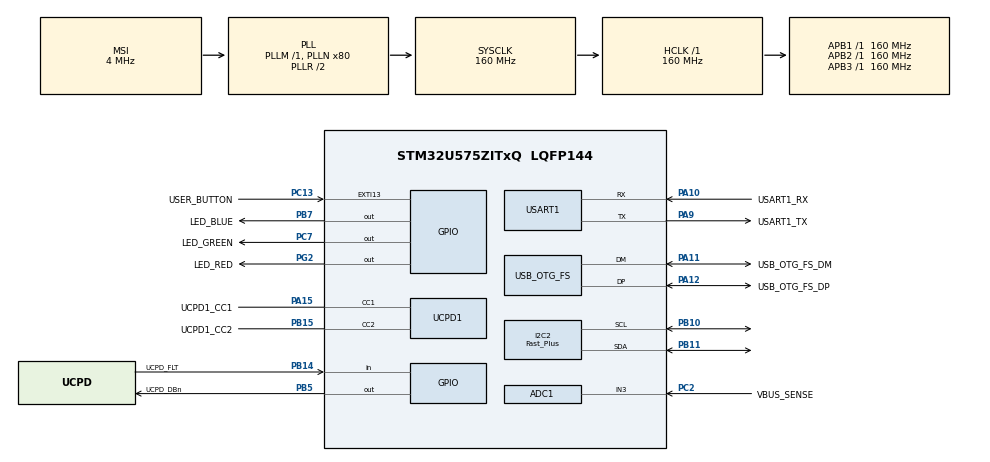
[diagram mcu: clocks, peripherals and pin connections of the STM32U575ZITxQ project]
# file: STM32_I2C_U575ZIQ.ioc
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ADC1.NbrOfConversion=1
ADC1.Resolution=ADC_RESOLUTION_14B
ADC1.master=1
CORTEX_M33_NS.AccessPermission-Cortex_Memory_Protection_Unit_Region0_Settings=MPU_REGION_ALL_RW
CORTEX_M33_NS.AttributesIndex-Cortex_Memory_Protection_Unit_Region0_Settings=MPU_ATTRIBUTES_NUMBER1
CORTEX_M33_NS.BaseAddress-Cortex_Memory_Protection_Unit_Region0_Settings=0x28000000
CORTEX_M33_NS.DisableExec-Cortex_Memory_Protection_Unit_Region0_Settings=MPU_INSTRUCTION_ACCESS_DISABLE
CORTEX_M33_NS.Enable-Cortex_Memory_Protection_Unit_Region0_Settings=MPU_REGION_ENABLE
CORTEX_M33_NS.LimitAddress-Cortex_Memory_Protection_Unit_Region0_Settings=0x28003fff
CORTEX_M33_NS.MPU_Control=MPU_PRIVILEGED_DEFAULT
CORTEX_M33_NS.userName=CORTEX_M33
GPDMA1.CIRCULARMODE_GPDMACH1=DISABLE
GPDMA1.DESTINC_GPDMACH1=DMA_DINC_INCREMENTED
GPDMA1.DIRECTION_GPDMACH1=DMA_PERIPH_TO_MEMORY
GPDMA1.IPHANDLE_GPDMACH1-SIMPLEREQUEST_GPDMACH1=__NULL
GPDMA1.REQUEST_GPDMACH1=GPDMA1_REQUEST_I2C2_RX
GPDMA1.SRCINC_GPDMACH1=DMA_SINC_FIXED
I2C2.I2C_Speed_Mode=I2C_Fast_Plus
I2C2.OwnAddress=0x7f
I2C2.Timing=0x00701F6B
Mcu.Family=STM32U5
Mcu.Name=STM32U575ZITxQ
Mcu.Package=LQFP144
NVIC.GPDMA1_Channel1_IRQn=true\:0\:0\:false\:false\:true\:false\:true\:true
NVIC.I2C2_EV_IRQn=true\:0\:0\:false\:false\:true\:true\:true\:true
NVIC.OTG_FS_IRQn=true\:0\:0\:false\:false\:true\:true\:true\:true
NVIC.PriorityGroup=NVIC_PRIORITYGROUP_3
NVIC.TIM1_UP_IRQn=true\:0\:0\:false\:false\:true\:true\:true\:true
PA10.GPIO_Label=USART1_RX
PA10.GPIO_PuPd=GPIO_PULLDOWN
PA10.GPIO_Speed=GPIO_SPEED_FREQ_VERY_HIGH
PA10.Mode=Asynchronous
PA10.Signal=USART1_RX
PA11.GPIO_Label=USB_OTG_FS_DM
PA11.GPIO_Speed=GPIO_SPEED_FREQ_VERY_HIGH
PA11.Mode=Device_Only
PA11.Signal=USB_OTG_FS_DM
PA12.GPIO_Label=USB_OTG_FS_DP
PA12.GPIO_Speed=GPIO_SPEED_FREQ_VERY_HIGH
PA12.Mode=Device_Only
PA12.Signal=USB_OTG_FS_DP
PA13\ (JTMS/SWDIO).Mode=Trace_Asynchronous_SW
PA13\ (JTMS/SWDIO).Signal=DEBUG_JTMS-SWDIO
PA14\ (JTCK/SWCLK).Mode=Trace_Asynchronous_SW
PA14\ (JTCK/SWCLK).Signal=DEBUG_JTCK-SWCLK
PA15\ (JTDI).GPIO_Label=UCPD1_CC1
PA15\ (JTDI).Mode=Sink_AllSignals
PA15\ (JTDI).Signal=UCPD1_CC1
PA9.GPIO_Label=USART1_TX
PA9.GPIO_PuPd=GPIO_PULLDOWN
PA9.GPIO_Speed=GPIO_SPEED_FREQ_VERY_HIGH
PA9.Mode=Asynchronous
PA9.Signal=USART1_TX
PB10.Mode=I2C
PB10.Signal=I2C2_SCL
PB11.Mode=I2C
PB11.Signal=I2C2_SDA
PB14.GPIO_Label=UCPD_FLT
PB14.Signal=GPIO_Input
PB15.GPIO_Label=UCPD1_CC2
PB15.Mode=Sink_AllSignals
PB15.Signal=UCPD1_CC2
PB3\ (JTDO/TRACESWO).Mode=Trace_Asynchronous_SW
PB3\ (JTDO/TRACESWO).Signal=DEBUG_JTDO-SWO
PB5.GPIO_Label=UCPD_DBn
PB5.Signal=GPIO_Output
PB7.GPIO_Label=LED_BLUE
PB7.GPIO_ModeDefaultOutputPP=GPIO_MODE_OUTPUT_PP
PB7.GPIO_PuPd=GPIO_PULLUP
PB7.GPIO_Speed=GPIO_SPEED_FREQ_HIGH
PB7.Signal=GPIO_Output
PB8.GPIO_Pu=GPIO_PULLUP
PB8.Signal=I2C1_SCL
PB9.GPIO_Pu=GPIO_PULLUP
PB9.Signal=I2C1_SDA
PC13.GPIO_Label=USER_BUTTON
PC13.GPIO_ModeDefaultEXTI=GPIO_MODE_IT_FALLING
PC13.Signal=GPXTI13
PC14-OSC32_IN\ (PC14).Mode=LSE-External-Oscillator
PC14-OSC32_IN\ (PC14).Signal=RCC_OSC32_IN
PC15-OSC32_OUT\ (PC15).Mode=LSE-External-Oscillator
PC15-OSC32_OUT\ (PC15).Signal=RCC_OSC32_OUT
PC2.GPIO_Label=VBUS_SENSE
PC2.Mode=IN3-Single-Ended
PC2.Signal=ADC1_IN3
PC7.GPIO_Label=LED_GREEN
PC7.GPIO_PuPd=GPIO_PULLUP
PC7.GPIO_Speed=GPIO_SPEED_FREQ_HIGH
PC7.Signal=GPIO_Output
PG2.GPIO_Label=LED_RED
PG2.GPIO_ModeDefaultOutputPP=GPIO_MODE_OUTPUT_PP
PG2.GPIO_PuPd=GPIO_PULLUP
PG2.GPIO_Speed=GPIO_SPEED_FREQ_HIGH
PG2.Signal=GPIO_Output
PWR.PowerMode=PWR_SMPS_SUPPLY
ProjectManager.HeapSize=0x200
ProjectManager.StackSize=0x400
ProjectManager.TargetToolchain=STM32CubeIDE
RCC.ADCFreq_Value=16000000
RCC.AHBFreq_Value=160000000
RCC.APB1Freq_Value=160000000
RCC.APB1TimFreq_Value=160000000
RCC.APB2Freq_Value=160000000
RCC.APB2TimFreq_Value=160000000
RCC.APB3Freq_Value=160000000
RCC.CortexFreq_Value=160000000
RCC.DACCLockSelectionVirtual=RCC_DAC1CLKSOURCE_LSI
RCC.EPOD_VALUE=4000000
RCC.HCLKFreq_Value=160000000
RCC.HSE_VALUE=16000000
RCC.HSI48_VALUE=48000000
RCC.HSI_VALUE=16000000
RCC.LSIDIV_VALUE=32000
RCC.MSI_VALUE=4000000
RCC.PLLN=80
RCC.SYSCLKFreq_VALUE=160000000
RCC.SYSCLKSource=RCC_SYSCLKSOURCE_PLLCLK
RCC.USBFreq_Value=48000000
RCC.VCOOutputFreq_Value=320000000
TIM1.PeriodNoDither=1000-1
TIM1.Prescaler=160-1
USART1.VirtualMode-Asynchronous=VM_ASYNC
USB_OTG_FS.VirtualMode=Device_Only
VP_DCACHE1_VS_DCACHE.Mode=DCACHE_Activate
VP_GPDMA1_VS_GPDMACH1.Mode=SIMPLEREQUEST_GPDMACH1
VP_ICACHE_VS_ENABLE_ICACHE_MEMORY.Mode=Memoryregions
VP_ICACHE_VS_ICACHE.Mode=DirectMappedCache
VP_LPBAMQUEUE_VS_QUEUE.Mode=QUEUEMODE
VP_LPBAM_VS_SIG1.Mode=SmartRun
VP_LPBAM_VS_SIG4.Mode=LPDMA1
VP_MEMORYMAP_VS_MEMORYMAP.Mode=CurAppReg
VP_PWR_VS_DBSignals.Mode=DisableDeadBatterySignals
VP_PWR_VS_LPOM.Mode=PowerOptimisation
VP_PWR_VS_SECSignals.Mode=Security/Privilege
VP_PWR_Vdda.Mode=isolationVdda
VP_TIM1_VS_ClockSourceINT.Mode=Internal
board=NUCLEO-U575ZI-Q

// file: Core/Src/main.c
/* USER CODE BEGIN Header */
/**
  ******************************************************************************
  * @file           : main.c
  * @brief          : Main program body
  ******************************************************************************
  * @attention
  *
  * Copyright (c) 2024 STMicroelectronics.
  * All rights reserved.
  *
  * This software is licensed under terms that can be found in the LICENSE file
  * in the root directory of this software component.
  * If no LICENSE file comes with this software, it is provided AS-IS.
  *
  ******************************************************************************
  */
/* USER CODE END Header */
#include "main.h"
#include "adc.h"
#include "dcache.h"
#include "gpdma.h"
#include "i2c.h"
#include "icache.h"
#include "memorymap.h"
#include "tim.h"
#include "ucpd.h"
#include "usart.h"
#include "usb_otg.h"
#include "gpio.h"

/* USER CODE BEGIN Includes */
#include "string.h"
/* USER CODE END Includes */

/* USER CODE BEGIN PD */

#define I2C_DOUBLE_DATA_NUM 		10
#define I2C_FLOAT_DATA_NUM 			20
#define I2C_INT32_DATA_NUM 			10
#define I2C_UINT32_DATA_NUM 		10
#define I2C_INT16_DATA_NUM 			10
#define I2C_UINT16_DATA_NUM 		10
#define I2C_INT8_DATA_NUM 			10
#define I2C_UINT8_DATA_NUM 			10

#define DATA_TOTAL_BYTE 			70		// Should be Larger than NEEDED (default MAX = 125bytes/ms for "Fast Mode Plus" (Use upto 70bytes...)
#define I2C_TOTAL_DATA_NUM			(I2C_DOUBLE_DATA_NUM + I2C_FLOAT_DATA_NUM + I2C_INT32_DATA_NUM + I2C_UINT32_DATA_NUM + I2C_INT16_DATA_NUM + I2C_UINT16_DATA_NUM + I2C_INT8_DATA_NUM + I2C_UINT8_DATA_NUM)

#define SLAVE_ADDR					(0x7f << 1)

typedef enum _IOIF_I2CDatatType_t {
	I2C_DOUBLE = 1,
	I2C_FLOAT,
	I2C_INT32,
	I2C_UINT32,
	I2C_INT16,
	I2C_UINT16,
	I2C_INT8,
	I2C_UINT8
} IOIF_I2CDataType_t;

typedef struct _IOIF_I2CObj_t {
	double doubleI2CData[I2C_DOUBLE_DATA_NUM];
	float floatI2CData[I2C_FLOAT_DATA_NUM];
	int32_t int32I2CData[I2C_INT32_DATA_NUM];
	uint32_t uint32I2CData[I2C_UINT32_DATA_NUM];
	int16_t int16I2CData[I2C_INT16_DATA_NUM];
	uint16_t uint16I2CData[I2C_UINT16_DATA_NUM];
	int8_t int8I2CData[I2C_INT8_DATA_NUM];
	uint8_t uint8I2CData[I2C_UINT8_DATA_NUM];

	uint8_t doubleIndex;
	uint8_t floatIndex;
	uint8_t int32Index;
	uint8_t uint32Index;
	uint8_t int16Index;
	uint8_t uint16Index;
	uint8_t int8Index;
	uint8_t uint8Index;

	uint8_t totalDataNum;
	uint16_t totalDataByte;

	uint8_t dataTypeArray[I2C_TOTAL_DATA_NUM];

	uint8_t ParsedI2CByteData[DATA_TOTAL_BYTE];
} IOIF_I2CObj_t;

/* For Received Values */
float data1;
float data2;
float data3;
float data4;
float data5;
float data6;
float data7;
float data8;
float data9;
float data10;
float data11;
float data12;

/* USER CODE END PD */

/* USER CODE BEGIN PV */

/* For DMA I2C Communication (with DMA) */
static uint8_t i2c2CommDmaRxBuff[DATA_TOTAL_BYTE] __attribute__((section(".i2c2RxBuff"))) = {0};

uint8_t rxByteDataArray[DATA_TOTAL_BYTE] = {0};

/* Receive */
void byteValueToRealValue(void* realData, uint8_t* byteData)
{
	static uint16_t rxDataIndex = 0;
	static uint8_t rxDataNum = 0;
	static uint8_t firstRead = 0;
	static uint8_t totalDataNum = 0;

	/* Check Total Data Number */
	if (firstRead == 0){
		totalDataNum = byteData[rxDataIndex];
		rxDataIndex++;
		firstRead = 1;
	}

	/* Parsing */
	if (byteData[rxDataIndex] == I2C_DOUBLE){
		memcpy((double*)realData, &byteData[rxDataIndex+1], sizeof(double));
		rxDataIndex += 9;
		rxDataNum++;
	}
	else if (byteData[rxDataIndex] == I2C_FLOAT){
		memcpy((float*)realData, &byteData[rxDataIndex+1], sizeof(float));
		rxDataIndex += 5;
		rxDataNum++;
	}
	else if (byteData[rxDataIndex] == I2C_INT32){
		memcpy((int32_t*)realData, &byteData[rxDataIndex+1], sizeof(int32_t));
		rxDataIndex += 5;
		rxDataNum++;
	}
	else if (byteData[rxDataIndex] == I2C_UINT32){
		memcpy((uint32_t*)realData, &byteData[rxDataIndex+1], sizeof(uint32_t));
		rxDataIndex += 5;
		rxDataNum++;
	}
	else if (byteData[rxDataIndex] == I2C_INT16){
		memcpy((int16_t*)realData, &byteData[rxDataIndex+1], sizeof(int16_t));
		rxDataIndex += 3;
		rxDataNum++;
	}
	else if (byteData[rxDataIndex] == I2C_UINT16){
		memcpy((uint16_t*)realData, &byteData[rxDataIndex+1], sizeof(uint16_t));
		rxDataIndex += 3;
		rxDataNum++;
	}
	else if (byteData[rxDataIndex] == I2C_INT8){
		memcpy((int8_t*)realData, &byteData[rxDataIndex+1], sizeof(int8_t));
		rxDataIndex += 2;
		rxDataNum++;
	}
	else if (byteData[rxDataIndex] == I2C_UINT8){
		memcpy((uint8_t*)realData, &byteData[rxDataIndex+1], sizeof(uint8_t));
		rxDataIndex += 2;
		rxDataNum++;
	}
	else {
		rxDataIndex = 0;
		rxDataNum = 0;
		firstRead = 0;
		return;
	}

	/* Optimization case */
	if (rxDataIndex == DATA_TOTAL_BYTE){
		rxDataIndex = 0;
		rxDataNum = 0;
		firstRead = 0;
		return;
	}

	if (rxDataNum == totalDataNum){
		rxDataIndex = 0;
		rxDataNum = 0;
		firstRead = 0;
		return;
	}
}

void settingI2CReceivedData(uint8_t* byteData)
{
	byteValueToRealValue(&data1, byteData);
	byteValueToRealValue(&data2, byteData);
	byteValueToRealValue(&data3, byteData);
	byteValueToRealValue(&data4, byteData);
	byteValueToRealValue(&data5, byteData);
	byteValueToRealValue(&data6, byteData);
	byteValueToRealValue(&data7, byteData);
//	byteValueToRealValue(&data8, byteData);
//	byteValueToRealValue(&data9, byteData);
//	byteValueToRealValue(&data10, byteData);
//	byteValueToRealValue(&data11, byteData);
//	byteValueToRealValue(&data12, byteData);
//	byteValueToRealValue(&data13, byteData);
}

/* Receive */
uint8_t IOIF_ReceiveI2CData(void)
{
	memset(rxByteDataArray, 0, DATA_TOTAL_BYTE);
	uint8_t rxDebug = HAL_I2C_Slave_Receive_DMA(&hi2c2, i2c2CommDmaRxBuff, DATA_TOTAL_BYTE);
	memcpy(rxByteDataArray, i2c2CommDmaRxBuff, DATA_TOTAL_BYTE);
	settingI2CReceivedData(rxByteDataArray);

	return rxDebug;
}

uint32_t timeElapsed = 0;

/* USER CODE END PV */

void SystemClock_Config(void);
static void SystemPower_Config(void);
static void MPU_Config(void);

int main(void)
{

  /* MCU Configuration--------------------------------------------------------*/

  /* Reset of all peripherals, Initializes the Flash interface and the Systick. */
  HAL_Init();

  /* MPU Configuration--------------------------------------------------------*/
  MPU_Config();

  /* Configure the system clock */
  SystemClock_Config();

  /* Configure the System Power */
  SystemPower_Config();

  /* Initialize all configured peripherals */
  MX_GPIO_Init();
  MX_GPDMA1_Init();
  MX_ICACHE_Init();
  MX_UCPD1_Init();
  MX_ADC1_Init();
  MX_USB_OTG_FS_PCD_Init();
  MX_DCACHE1_Init();
  MX_I2C2_Init();
  MX_TIM1_Init();
  MX_USART1_UART_Init();
  /* USER CODE BEGIN 2 */

  memset(rxByteDataArray, 0 ,DATA_TOTAL_BYTE);
  memset(i2c2CommDmaRxBuff, 0 ,DATA_TOTAL_BYTE);
  HAL_TIM_Base_Start_IT(&htim1);

  /* USER CODE END 2 */

  /* Infinite loop */
  while (1)
  {

  }
}

void SystemClock_Config(void)
{
  RCC_OscInitTypeDef RCC_OscInitStruct = {0};
  RCC_ClkInitTypeDef RCC_ClkInitStruct = {0};

  /** Configure the main internal regulator output voltage
  */
  if (HAL_PWREx_ControlVoltageScaling(PWR_REGULATOR_VOLTAGE_SCALE1) != HAL_OK)
  {
    Error_Handler();
  }

  /** Initializes the CPU, AHB and APB buses clocks
  */
  RCC_OscInitStruct.OscillatorType = RCC_OSCILLATORTYPE_HSI48|RCC_OSCILLATORTYPE_HSI
                              |RCC_OSCILLATORTYPE_MSI;
  RCC_OscInitStruct.HSIState = RCC_HSI_ON;
  RCC_OscInitStruct.HSI48State = RCC_HSI48_ON;
  RCC_OscInitStruct.HSICalibrationValue = RCC_HSICALIBRATION_DEFAULT;
  RCC_OscInitStruct.MSIState = RCC_MSI_ON;
  RCC_OscInitStruct.MSICalibrationValue = RCC_MSICALIBRATION_DEFAULT;
  RCC_OscInitStruct.MSIClockRange = RCC_MSIRANGE_4;
  RCC_OscInitStruct.PLL.PLLState = RCC_PLL_ON;
  RCC_OscInitStruct.PLL.PLLSource = RCC_PLLSOURCE_MSI;
  RCC_OscInitStruct.PLL.PLLMBOOST = RCC_PLLMBOOST_DIV1;
  RCC_OscInitStruct.PLL.PLLM = 1;
  RCC_OscInitStruct.PLL.PLLN = 80;
  RCC_OscInitStruct.PLL.PLLP = 2;
  RCC_OscInitStruct.PLL.PLLQ = 2;
  RCC_OscInitStruct.PLL.PLLR = 2;
  RCC_OscInitStruct.PLL.PLLRGE = RCC_PLLVCIRANGE_0;
  RCC_OscInitStruct.PLL.PLLFRACN = 0;
  if (HAL_RCC_OscConfig(&RCC_OscInitStruct) != HAL_OK)
  {
    Error_Handler();
  }

  /** Initializes the CPU, AHB and APB buses clocks
  */
  RCC_ClkInitStruct.ClockType = RCC_CLOCKTYPE_HCLK|RCC_CLOCKTYPE_SYSCLK
                              |RCC_CLOCKTYPE_PCLK1|RCC_CLOCKTYPE_PCLK2
                              |RCC_CLOCKTYPE_PCLK3;
  RCC_ClkInitStruct.SYSCLKSource = RCC_SYSCLKSOURCE_PLLCLK;
  RCC_ClkInitStruct.AHBCLKDivider = RCC_SYSCLK_DIV1;
  RCC_ClkInitStruct.APB1CLKDivider = RCC_HCLK_DIV1;
  RCC_ClkInitStruct.APB2CLKDivider = RCC_HCLK_DIV1;
  RCC_ClkInitStruct.APB3CLKDivider = RCC_HCLK_DIV1;

  if (HAL_RCC_ClockConfig(&RCC_ClkInitStruct, FLASH_LATENCY_4) != HAL_OK)
  {
    Error_Handler();
  }
}

/**
  * @brief Power Configuration
  * @retval None
  */
static void SystemPower_Config(void)
{
  HAL_PWREx_EnableVddIO2();

  /*
   * Switch to SMPS regulator instead of LDO
   */
  if (HAL_PWREx_ConfigSupply(PWR_SMPS_SUPPLY) != HAL_OK)
  {
    Error_Handler();
  }
}

/* USER CODE BEGIN 4 */
uint32_t chk = 0;
void HAL_TIM_PeriodElapsedCallback(TIM_HandleTypeDef *htim)
{
	/* TIM1 : I2C2(Slave) - Receive */
	if (htim == &htim1){
//		/* Loop Start Time Check */
//		CoreDebug->DEMCR |= CoreDebug_DEMCR_TRCENA_Msk;
//		DWT->CYCCNT = 0;
//		DWT->CTRL |= DWT_CTRL_CYCCNTENA_Msk;

		/* Used Function */
		IOIF_ReceiveI2CData();
		//////////////////////////
		if ((data7 < 0.00001 && data7 > 0) || (data7 < 0 && data7 > -0.00001)){
			chk++;
		}

//		timeElapsed = DWT->CYCCNT / 160;	// in microsecond
	}
}

/* USER CODE END 4 */

/* MPU Configuration */

void MPU_Config(void)
{
  MPU_Region_InitTypeDef MPU_InitStruct = {0};
  MPU_Attributes_InitTypeDef MPU_AttributesInit = {0};

  /* Disables the MPU */
  HAL_MPU_Disable();

  /** Initializes and configures the Region and the memory to be protected
  */
  MPU_InitStruct.Enable = MPU_REGION_ENABLE;
  MPU_InitStruct.Number = MPU_REGION_NUMBER0;
  MPU_InitStruct.BaseAddress = 0x28000000;
  MPU_InitStruct.LimitAddress = 0x28003fff;
  MPU_InitStruct.AttributesIndex = MPU_ATTRIBUTES_NUMBER1;
  MPU_InitStruct.AccessPermission = MPU_REGION_ALL_RW;
  MPU_InitStruct.DisableExec = MPU_INSTRUCTION_ACCESS_DISABLE;
  MPU_InitStruct.IsShareable = MPU_ACCESS_NOT_SHAREABLE;

  HAL_MPU_ConfigRegion(&MPU_InitStruct);
  MPU_AttributesInit.Number = MPU_REGION_NUMBER0;
  MPU_AttributesInit.Attributes = MPU_DEVICE_nGnRnE | MPU_WRITE_THROUGH
                              | MPU_TRANSIENT | MPU_NO_ALLOCATE;

  HAL_MPU_ConfigMemoryAttributes(&MPU_AttributesInit);
  /* Enables the MPU */
  HAL_MPU_Enable(MPU_PRIVILEGED_DEFAULT);

}

void Error_Handler(void)
{
  __disable_irq();
  while (1)
  {
  }
}
